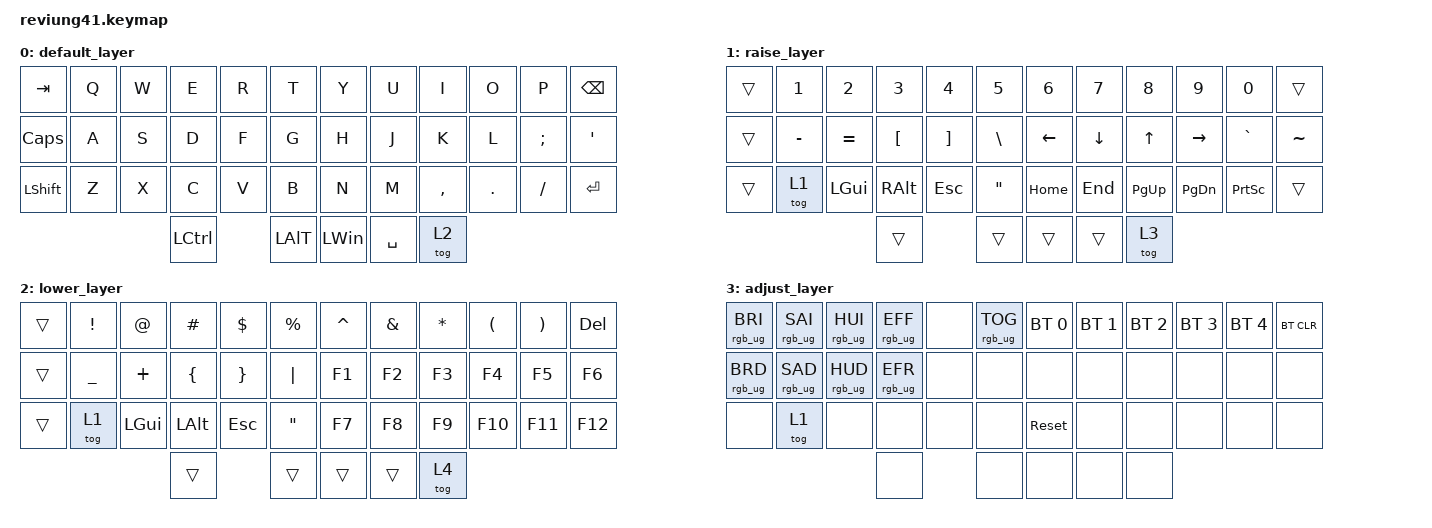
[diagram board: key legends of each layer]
/*
 * Copyright (c) 2020 The ZMK Contributors
 *
 * SPDX-License-Identifier: MIT
 */

#include <behaviors.dtsi>
#include <dt-bindings/zmk/keys.h>
#include <dt-bindings/zmk/bt.h>
#include <dt-bindings/zmk/rgb.h>

/ {
        keymap {
                compatible = "zmk,keymap";

                default_layer {
// -------------------------------------------------------------------------------------
// |  TAB |  Q  |  W  |  E  |  R  |  T  |   |  Y  |  U   |  I  |  O  |  P  | BSPC |
// |  CAPS |  A  |  S  |  D  |  F  |  G  |   |  H  |  J   |  K  |  L  |  ;  |  '   |
// | SHFT |  Z  |  X  |  C  |  V  |  B  |   |  N  |  M   |  ,  |  .  |  /  | RET  |
//                        | CTRL | ALT | WIN | SPC | RSE |
                        bindings = <
   &kp TAB   &kp Q &kp W &kp E &kp R &kp T   &kp Y &kp U  &kp I     &kp O   &kp P    &kp BSPC
   &kp CAPS   &kp A &kp S &kp D &kp F &kp G   &kp H &kp J  &kp K     &kp L   &kp SEMI &kp SQT
   &kp LSHFT &kp Z &kp X &kp C &kp V &kp B   &kp N &kp M  &kp COMMA &kp DOT &kp FSLH &kp RET
                        &kp LCTRL  &kp LAlT &kp LWIN &kp SPACE &tog 2
                        >;
                };

                raise_layer {
// ----------------------------------------------------------------------------
// |    |  1  |  2  |  3  |  4  |  5  |   |  6  |  7  |  8  |  9  |  0  |     |
// |    |  -  |  =  |  [  |  ]  |  \  |   | LFT | DWN |  UP | RGT |  `  |  ~  |
// |    | DEF | GUI | ALT | ESC |  "  |   | HOME| END | PGUP| PGDN| PRSC|     |
//                       |     |     |     |     | LWR |
                        bindings = <
   &trans &kp N1    &kp N2    &kp N3    &kp N4    &kp N5        &kp N6    &kp N7    &kp N8    &kp N9    &kp N0    &trans
   &trans &kp MINUS &kp EQUAL &kp LBKT  &kp RBKT  &kp BSLH      &kp LEFT  &kp DOWN  &kp UP    &kp RIGHT &kp GRAVE &kp TILDE
   &trans &tog 1    &kp LGUI  &kp RALT  &kp ESC   &kp DQT       &kp HOME  &kp END   &kp PG_UP &kp PG_DN &kp PSCRN &trans
                                &trans      &trans       &trans        &trans      &tog 3
                        >;
                };

                lower_layer {
// ------------------------------------------------------------------------------------
// |    |  !  |  @  |  #  |  $  |  %  |   |  ^  |  &  |  *  |  (  |  )  | DEL |
// |    |  _  |  +  |  {  |  }  | "|" |   | F1  | F2  | F3  | F4  | F5  | F6  |
// |    | DEF | GUI | ALT | ESC |  "  |   | F1  | F2  | F3  | F4  | F5  | F6  |
//                       |     |     |     |     | ADJ |
                        bindings = <
   &trans &kp EXCL  &kp AT      &kp HASH &kp DLLR &kp PRCNT      &kp CARET &kp AMPS  &kp ASTRK &kp LPAR  &kp RPAR  &kp DEL
   &trans &kp UNDER &kp PLUS    &kp LBRC &kp RBRC &kp PIPE       &kp F1    &kp F2    &kp F3    &kp F4    &kp F5    &kp F6
   &trans &tog 1    &kp LGUI    &kp LALT &kp ESC  &kp DQT        &kp F7    &kp F8    &kp F9    &kp F10   &kp F11   &kp F12
                                 &trans      &trans       &trans      &trans       &tog 4
                        >;
                };

                adjust_layer {
// -----------------------------------------------------------------------------------------
// | RGB BRI+ | RGB SAT+ | RGB HUE+ | RGB ANI+ |    | RGB TOG |   |  BT1  | BT2 | BT3 | BT4 | BT5 | BT CLR |
// | RGB BRI- | RGB SAT- | RGB HUE- | RGB ANI- |    |         |   |       |     |     |     |     |        |
// |          |   DEF    |          |          |    |         |   | RESET |     |     |     |     |        |
//                                              |     |     |     |     |     |
                        bindings = <
   &rgb_ug RGB_BRI &rgb_ug RGB_SAI &rgb_ug RGB_HUI &rgb_ug RGB_EFF &none &rgb_ug RGB_TOG    &bt BT_SEL 0 &bt BT_SEL 1 &bt BT_SEL 2 &bt BT_SEL 3 &bt BT_SEL 4 &bt BT_CLR
   &rgb_ug RGB_BRD &rgb_ug RGB_SAD &rgb_ug RGB_HUD &rgb_ug RGB_EFR &none &none              &none        &none        &none        &none        &none        &none
   &none           &tog 1          &none           &none           &none &none              &sys_reset   &none        &none        &none        &none        &none
                                                             &none      &none       &none        &none      &none
                        >;
                };
        };
};
